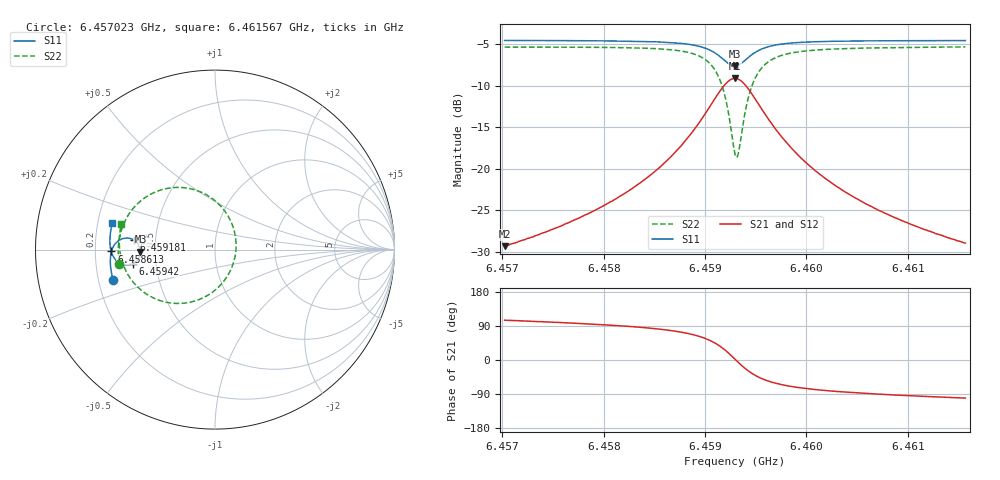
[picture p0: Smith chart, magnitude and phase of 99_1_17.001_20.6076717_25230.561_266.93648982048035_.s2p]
#  HZ  S  RI  R  50.00
! Rohde & Schwarz Vector Network Analyzer
! Rohde-Schwarz,ZNB20-2Port,1311601062101988,3.16
! Created: UTC 3/20/2024, 10:56:27 PM
! freq[Hz]  re:S11  im:S11  re:S21  im:S21  re:S12  im:S12  re:S22  im:S22
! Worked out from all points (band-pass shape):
!   401 points, 6.457023 GHz to 6.461567 GHz, reference 50 ohm
!   highest |S21| = -9.13 dB at 6.459295 GHz (marker M1); lowest = -29.4 dB at 6.457023 GHz (marker M2)
!   |S21| within 3 dB of the highest: 6.459068 GHz to 6.459522 GHz (454.1 kHz wide, 0.00703 % of centre)
!   lowest |S11| = -7.6 dB at 6.459295 GHz (marker M3), VSWR 2.42, Z = 20.6 - j0.54 ohm
!   |S11| at or under -10 dB: nowhere
!   |S22| runs from -18.6 to -5.3 dB; largest |S21 - S12| = 0.014
!   S11 on the Smith chart (normalised r, x): 6.457023 GHz: 0.26, -0.14; 6.458613 GHz: 0.27, -0.01; 6.459181 GHz: 0.38, +0.05; 6.45942 GHz: 0.37, -0.07; 6.461567 GHz: 0.26, +0.12
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6.4570232e9  -0.567 -0.17  -0.0088 0.0329  -0.00696 0.0328  -0.5342 -0.0802
6.4577842e9  -0.5808 -0.1032  -0.00552 0.0511  -0.00287 0.0504  -0.5386 0.00978
6.4581932e9  -0.5834 -0.0621  0.000421 0.07  0.00367 0.0686  -0.5304 0.0749
6.4585453e9  -0.5794 -0.0197  0.0148 0.0999  0.0188 0.0972  -0.5037 0.1549
6.4586135e9  -0.5771 -0.0102  0.0202 0.1083  0.0243 0.1051  -0.4935 0.1749
6.4588066e9  -0.5644 0.0203  0.0471 0.1396  0.0512 0.1346  -0.443 0.2441
6.4589543e9  -0.5413 0.0467  0.093 0.1703  0.0963 0.1635  -0.3583 0.3086
6.4590906e9  -0.4968 0.0642  0.1815 0.1866  0.1823 0.1794  -0.1971 0.3465
6.4591814e9  -0.4516 0.0534  0.2724 0.1547  0.2725 0.1488  -0.0291 0.2941
6.4592496e9  -0.4222 0.0207  0.3332 0.0816  0.3354 0.0763  0.0864 0.1621
6.459295e9  -0.4153 -0.0108  0.3493 0.0128  0.3531 0.00579  0.1175 0.0334
6.4593064e9  -0.4159 -0.019  0.3489 -0.00535  0.353 -0.0129  0.1171 -0.000439
6.4593291e9  -0.4194 -0.0349  0.343 -0.0403  0.3471 -0.0495  0.1051 -0.0667
6.4593746e9  -0.4354 -0.0613  0.3137 -0.1005  0.3162 -0.1126  0.0457 -0.1803
6.45942e9  -0.4577 -0.0778  0.2712 -0.1419  0.2703 -0.1552  -0.0407 -0.255
6.4595109e9  -0.5016 -0.0848  0.1854 -0.1728  0.1793 -0.1843  -0.2111 -0.2999
6.4596585e9  -0.5458 -0.0644  0.0968 -0.1584  0.0884 -0.1647  -0.3793 -0.2493
6.4598176e9  -0.5678 -0.0367  0.0516 -0.1302  0.0439 -0.1329  -0.4598 -0.1763
6.4600561e9  -0.5808 -0.00124  0.0224 -0.0982  0.0165 -0.0988  -0.5078 -0.0934
6.4603855e9  -0.5854 0.0384  0.00662 -0.0718  0.00244 -0.0713  -0.5287 -0.0163
6.4608172e9  -0.5837 0.0822  -0.00144 -0.0523  -0.00431 -0.0515  -0.5332 0.054
6.4615669e9  -0.572 0.1487  -0.00643 -0.035  -0.00824 -0.034  -0.522 0.143
